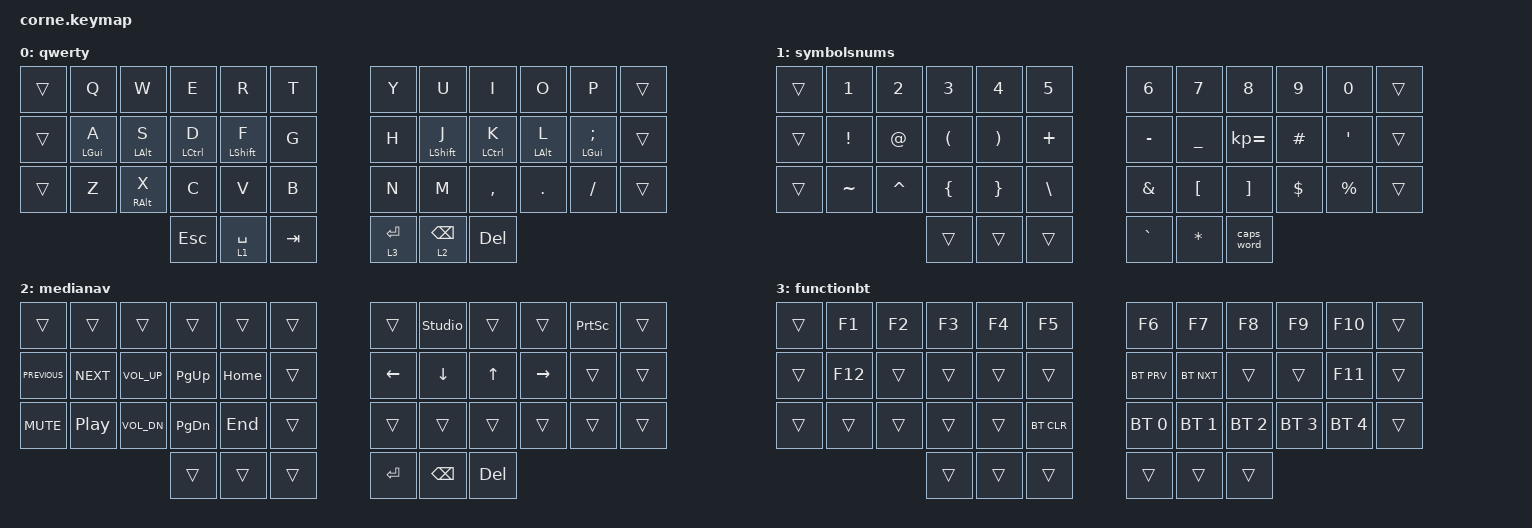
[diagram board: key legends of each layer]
#include <behaviors.dtsi>
#include <dt-bindings/zmk/bt.h>
#include <dt-bindings/zmk/keys.h>

// Layer Definitions

#define COLEMAK 0
#define QWERTY 1
#define GAMING_COLEMAK 2
#define GAMING_QWERTY 3
#define LAYERS 4
#define NAV 5
#define MOUSE 6
#define MEDIA 7
#define NUM 8
#define SYM 9
#define FN 10

// Behavior configuration

&mt {
    tapping-term-ms = <200>;
    quick_tap_ms = <0>;
    flavor = "tap-preferred";
};

&lt {
    tapping-term-ms = <200>;
    quick_tap_ms = <0>;
    flavor = "tap-preferred";
};

&sk {
    release-after-ms = <500>;
    quick-release;
};

// Keymap configuration (Colemak-DHm)

/ {
    keymap {
        compatible = "zmk,keymap";

        qwerty {
            // -----------------------------------------------------------------------------------------------------------------------------
            // |        |   Q    |   W    |     F     |     P     |     B     | # |     J     |    L     |    U    |    Y   |   '    |     |
            // | LAYERS | A/LGUI | R/LALT |  S/LCTRL  |  T/LSHFT  |     G     | # |     M     | N/LSHFT  | E/LCTRL | I/LALT | O/LGUI |     |
            // |        |   Z    | X/RALT |     C     |     D     |     V     | # |     K     |    H     |    ,    | ./RALT |   /    |     |
            //                            | ESC/MEDIA | SPACE/NAV | TAB/MOUSE | # | ENTER/SYM | BSPC/NUM | DEL/FN  |

            bindings = <
&trans  &kp Q       &kp W       &kp E        &kp R        &kp T      &kp Y        &kp U        &kp I        &kp O       &kp P          &trans
&trans  &mt LGUI A  &mt LALT S  &mt LCTRL D  &mt LSHFT F  &kp G      &kp H        &mt LSHFT J  &mt LCTRL K  &mt LALT L  &mt LGUI SEMI  &trans
&trans  &kp Z       &mt RALT X  &kp C        &kp V        &kp B      &kp N        &kp M        &kp COMMA    &kp PERIOD  &kp FSLH       &trans
                                &kp ESC      &lt 1 SPACE  &kp TAB    &lt 3 ENTER  &lt 2 BSPC   &kp DEL
            >;
        };

        symbolsnums {
            // -----------------------------------------------------------------------------------
            // |     |  [  |  7  |  8  |  9  |  ]  | # |     |       |       |      |      |     |
            // |     |  ;  |  4  |  5  |  6  |  =  | # |     | LSHFT | LCTRL | LALT | LGUI |     |
            // |     |  `  |  1  |  2  |  3  |  \  | # |     |       |       | RALT |      |     |
            //                   |  .  |  0  |  -  | # |     | HELD  |       |

            bindings = <
&trans  &kp N1           &kp N2       &kp N3                &kp N4                 &kp N5      &kp N6     &kp N7     &kp N8        &kp N9    &kp N0       &trans
&trans  &kp EXCLAMATION  &kp AT_SIGN  &kp LEFT_PARENTHESIS  &kp RIGHT_PARENTHESIS  &kp PLUS    &kp MINUS  &kp UNDER  &kp KP_EQUAL  &kp HASH  &kp SQT      &trans
&trans  &kp TILDE        &kp CARET    &kp LEFT_BRACE        &kp RIGHT_BRACE        &kp BSLH    &kp AMPS   &kp LBKT   &kp RBKT      &kp DLLR  &kp PERCENT  &trans
                                      &trans                &trans                 &trans      &kp GRAVE  &kp STAR   &caps_word
            >;
        };

        medianav {
            // -------------------------------------------------------------------------------------------
            // |     |      |      |       |       |     | # | REDO  | CUT  | COPY | PASTE | UNDO  |     |
            // |     | LGUI | LALT | LCTRL | LSHFT |     | # | CAPS  | LEFT | DOWN | UP    | RIGHT |     |
            // |     |      | RALT |       |       |     | # | INS   | HOME | PGDN | PGUP  | END   |     |
            //                     |       | HELD  |     | # | ENTER | BSPC | DEL  |

            bindings = <
&trans          &trans            &trans        &trans         &trans    &trans    &trans     &studio_unlock  &trans        &trans     &kp PRINTSCREEN  &trans
&kp C_PREVIOUS  &kp C_NEXT        &kp C_VOL_UP  &kp PAGE_UP    &kp HOME  &trans    &kp LEFT   &kp DOWN        &kp UP_ARROW  &kp RIGHT  &trans           &trans
&kp C_MUTE      &kp C_PLAY_PAUSE  &kp C_VOL_DN  &kp PAGE_DOWN  &kp END   &trans    &trans     &trans          &trans        &trans     &trans           &trans
                                                &trans         &trans    &trans    &kp ENTER  &kp BSPC        &kp DEL
            >;
        };

        functionbt {
            // ------------------------------------------------------------------------------------
            // |     |  {  |  &  |  *  |  (  |  }  | # |      |       |       |      |      |     |
            // |     |  :  |  $  |  %  |  ^  |  +  | # |      | LSHFT | LCTRL | LALT | LGUI |     |
            // |     |  ~  |  !  |  @  |  #  |  |  | # |      |       |       | RALT |      |     |
            //                   |  (  |  )  |  _  | # | HELD |       |       |

            bindings = <
&trans  &kp F1   &kp F2  &kp F3  &kp F4  &kp F5        &kp F6        &kp F7        &kp F8        &kp F9        &kp F10       &trans
&trans  &kp F12  &trans  &trans  &trans  &trans        &bt BT_PRV    &bt BT_NXT    &trans        &trans        &kp F11       &trans
&trans  &trans   &trans  &trans  &trans  &bt BT_CLR    &bt BT_SEL 0  &bt BT_SEL 1  &bt BT_SEL 2  &bt BT_SEL 3  &bt BT_SEL 4  &trans
                         &trans  &trans  &trans        &trans        &trans        &trans
            >;
        };
    };
};
